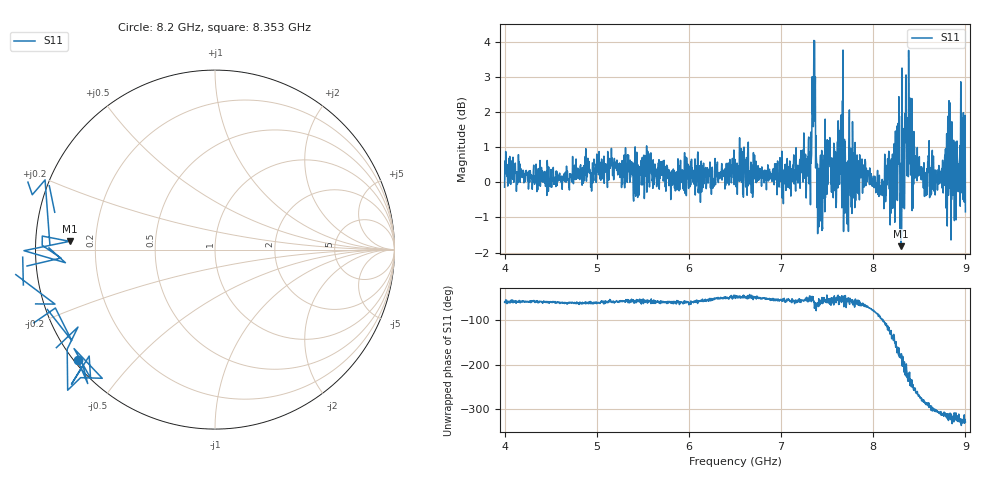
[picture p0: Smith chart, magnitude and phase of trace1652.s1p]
! Created with skrf 1.8.0 (http://scikit-rf.org).
# Hz S RI R 50.0
!freq ReS11 ImS11
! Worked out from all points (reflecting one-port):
!   1601 points, 4 GHz to 9 GHz, reference 50 ohm
!   lowest |S11| = -1.8 dB at 8.3 GHz (marker M1), VSWR 9.58, Z = 5.22 + j1.4 ohm
!   phase of S11 starts at -59 deg and turns -269 deg over the sweep
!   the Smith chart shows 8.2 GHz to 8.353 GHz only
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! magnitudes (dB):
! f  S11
! 4 GHz  -0.1
! 4.625 GHz  -0.2
! 5.25 GHz  0.2
! 5.875 GHz  0.0
! 6.5 GHz  0.6
! 7.125 GHz  0.4
! 7.294 GHz  0.7
! 7.347 GHz  2.5
! 7.362 GHz  4.0
! 7.4 GHz  0.2
! 7.422 GHz  -1.1
! 7.503 GHz  0.2
! 7.578 GHz  0.9
! 7.647 GHz  1.8
! 7.75 GHz  0.5
! 8.094 GHz  -0.3
! 8.225 GHz  0.3
! 8.262 GHz  -0.5
! 8.3 GHz  -1.8
! 8.316 GHz  1.5
! 8.338 GHz  -0.8
! 8.375 GHz  0.4
! 8.447 GHz  1.0
! 8.684 GHz  0.2
! 8.816 GHz  -0.4
! 8.869 GHz  -0.2
! 8.972 GHz  0.3
! 9 GHz  -0.8
